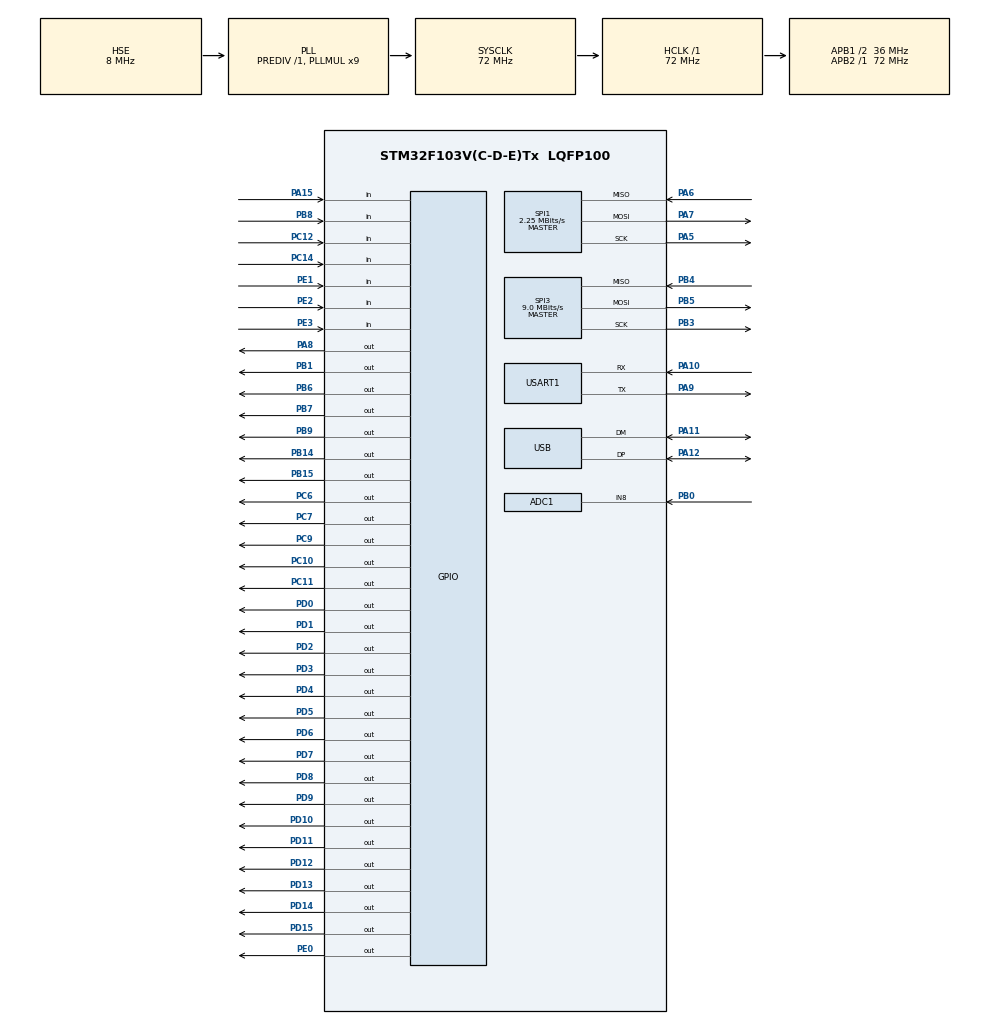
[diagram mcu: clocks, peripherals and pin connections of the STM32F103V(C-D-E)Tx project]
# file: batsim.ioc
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ADC1.Channel-0\#ChannelRegularConversion=ADC_CHANNEL_8
ADC1.Channel-1\#ChannelRegularConversion=ADC_CHANNEL_VREFINT
ADC1.NbrOfConversion=2
ADC1.NbrOfConversionFlag=1
ADC1.Rank-0\#ChannelRegularConversion=1
ADC1.Rank-1\#ChannelRegularConversion=2
ADC1.SamplingTime-0\#ChannelRegularConversion=ADC_SAMPLETIME_55CYCLES_5
ADC1.SamplingTime-1\#ChannelRegularConversion=ADC_SAMPLETIME_71CYCLES_5
ADC1.master=1
Dma.ADC1.0.Direction=DMA_PERIPH_TO_MEMORY
Dma.ADC1.0.Instance=DMA1_Channel1
Dma.ADC1.0.MemDataAlignment=DMA_MDATAALIGN_HALFWORD
Dma.ADC1.0.MemInc=DMA_MINC_ENABLE
Dma.ADC1.0.Mode=DMA_NORMAL
Dma.ADC1.0.PeriphDataAlignment=DMA_PDATAALIGN_HALFWORD
Dma.ADC1.0.PeriphInc=DMA_PINC_DISABLE
Dma.ADC1.0.Priority=DMA_PRIORITY_LOW
Dma.Request0=ADC1
Dma.Request1=SPI1_RX
Dma.Request2=SPI1_TX
Dma.Request3=SPI3_RX
Dma.Request4=SPI3_TX
Dma.SPI1_RX.1.Direction=DMA_PERIPH_TO_MEMORY
Dma.SPI1_RX.1.Instance=DMA1_Channel2
Dma.SPI1_RX.1.MemDataAlignment=DMA_MDATAALIGN_HALFWORD
Dma.SPI1_RX.1.MemInc=DMA_MINC_ENABLE
Dma.SPI1_RX.1.Mode=DMA_NORMAL
Dma.SPI1_RX.1.PeriphDataAlignment=DMA_PDATAALIGN_HALFWORD
Dma.SPI1_RX.1.PeriphInc=DMA_PINC_DISABLE
Dma.SPI1_RX.1.Priority=DMA_PRIORITY_LOW
Dma.SPI1_TX.2.Direction=DMA_MEMORY_TO_PERIPH
Dma.SPI1_TX.2.Instance=DMA1_Channel3
Dma.SPI1_TX.2.MemDataAlignment=DMA_MDATAALIGN_HALFWORD
Dma.SPI1_TX.2.MemInc=DMA_MINC_ENABLE
Dma.SPI1_TX.2.Mode=DMA_NORMAL
Dma.SPI1_TX.2.PeriphDataAlignment=DMA_PDATAALIGN_HALFWORD
Dma.SPI1_TX.2.PeriphInc=DMA_PINC_DISABLE
Dma.SPI1_TX.2.Priority=DMA_PRIORITY_LOW
Dma.SPI3_RX.3.Direction=DMA_PERIPH_TO_MEMORY
Dma.SPI3_RX.3.Instance=DMA2_Channel1
Dma.SPI3_RX.3.MemDataAlignment=DMA_MDATAALIGN_BYTE
Dma.SPI3_RX.3.MemInc=DMA_MINC_ENABLE
Dma.SPI3_RX.3.Mode=DMA_NORMAL
Dma.SPI3_RX.3.PeriphDataAlignment=DMA_PDATAALIGN_BYTE
Dma.SPI3_RX.3.PeriphInc=DMA_PINC_DISABLE
Dma.SPI3_RX.3.Priority=DMA_PRIORITY_LOW
Dma.SPI3_TX.4.Direction=DMA_MEMORY_TO_PERIPH
Dma.SPI3_TX.4.Instance=DMA2_Channel2
Dma.SPI3_TX.4.MemDataAlignment=DMA_MDATAALIGN_BYTE
Dma.SPI3_TX.4.MemInc=DMA_MINC_ENABLE
Dma.SPI3_TX.4.Mode=DMA_NORMAL
Dma.SPI3_TX.4.PeriphDataAlignment=DMA_PDATAALIGN_BYTE
Dma.SPI3_TX.4.PeriphInc=DMA_PINC_DISABLE
Dma.SPI3_TX.4.Priority=DMA_PRIORITY_LOW
FATFS._FS_RPATH=2
FATFS._LFN_UNICODE=0
FATFS._MAX_LFN=20
FATFS._USE_LFN=3
FREERTOS.Tasks01=defaultTask,0,1000,StartDefaultTask,Default,NULL,Dynamic,NULL,NULL
FREERTOS.configTOTAL_HEAP_SIZE=47000
FREERTOS.configUSE_PREEMPTION=0
Mcu.Family=STM32F1
Mcu.Name=STM32F103V(C-D-E)Tx
Mcu.Package=LQFP100
NVIC.DMA1_Channel1_IRQn=true\:5\:0\:false\:false\:true\:true\:true
NVIC.DMA1_Channel2_IRQn=true\:5\:0\:false\:false\:true\:true\:true
NVIC.DMA1_Channel3_IRQn=true\:5\:0\:false\:false\:true\:true\:true
NVIC.DMA2_Channel1_IRQn=true\:5\:0\:false\:false\:true\:true\:false
NVIC.DMA2_Channel2_IRQn=true\:5\:0\:false\:false\:true\:true\:false
NVIC.PriorityGroup=NVIC_PRIORITYGROUP_4
NVIC.TIM2_IRQn=true\:0\:0\:false\:false\:true\:false\:true
NVIC.TIM3_IRQn=true\:5\:0\:false\:false\:true\:true\:true
NVIC.TimeBase=TIM2_IRQn
NVIC.TimeBaseIP=TIM2
NVIC.USB_LP_CAN1_RX0_IRQn=true\:10\:0\:true\:false\:true\:true\:true
OSC_IN.Mode=HSE-External-Oscillator
OSC_IN.Signal=RCC_OSC_IN
OSC_OUT.Mode=HSE-External-Oscillator
OSC_OUT.Signal=RCC_OSC_OUT
PA10.Mode=Asynchronous
PA10.Signal=USART1_RX
PA11.Mode=Device
PA11.Signal=USB_DM
PA12.Mode=Device
PA12.Signal=USB_DP
PA13.Mode=Serial_Wire
PA13.Signal=SYS_JTMS-SWDIO
PA14.Mode=Serial_Wire
PA14.Signal=SYS_JTCK-SWCLK
PA15.GPIO_PuPd=GPIO_PULLUP
PA15.Signal=GPIO_Input
PA5.Mode=Full_Duplex_Master
PA5.Signal=SPI1_SCK
PA6.GPIO_PuPd=GPIO_PULLUP
PA6.Mode=Full_Duplex_Master
PA6.Signal=SPI1_MISO
PA7.Mode=Full_Duplex_Master
PA7.Signal=SPI1_MOSI
PA8.Signal=GPIO_Output
PA9.Mode=Asynchronous
PA9.Signal=USART1_TX
PB0.Signal=ADCx_IN8
PB1.Signal=GPIO_Output
PB14.GPIO_Speed=GPIO_SPEED_FREQ_HIGH
PB14.Signal=GPIO_Output
PB15.GPIO_Speed=GPIO_SPEED_FREQ_HIGH
PB15.Signal=GPIO_Output
PB3.Mode=Full_Duplex_Master
PB3.Signal=SPI3_SCK
PB4.GPIO_PuPd=GPIO_PULLUP
PB4.Mode=Full_Duplex_Master
PB4.Signal=SPI3_MISO
PB5.Mode=Full_Duplex_Master
PB5.Signal=SPI3_MOSI
PB6.GPIO_Speed=GPIO_SPEED_FREQ_HIGH
PB6.PinState=GPIO_PIN_SET
PB6.Signal=GPIO_Output
PB7.GPIO_Speed=GPIO_SPEED_FREQ_HIGH
PB7.PinState=GPIO_PIN_SET
PB7.Signal=GPIO_Output
PB8.GPIO_PuPd=GPIO_PULLUP
PB8.Signal=GPIO_Input
PB9.GPIO_Speed=GPIO_SPEED_FREQ_HIGH
PB9.Signal=GPIO_Output
PC10.Signal=GPIO_Output
PC11.Signal=GPIO_Output
PC12.GPIO_PuPd=GPIO_PULLUP
PC12.Signal=GPIO_Input
PC14-OSC32_IN.GPIO_PuPd=GPIO_PULLUP
PC14-OSC32_IN.Signal=GPIO_Input
PC6.GPIO_Speed=GPIO_SPEED_FREQ_HIGH
PC6.Signal=GPIO_Output
PC7.Signal=GPIO_Output
PC9.Signal=GPIO_Output
PD0.GPIO_Speed=GPIO_SPEED_FREQ_HIGH
PD0.PinState=GPIO_PIN_RESET
PD0.Signal=GPIO_Output
PD1.GPIO_Speed=GPIO_SPEED_FREQ_HIGH
PD1.Signal=GPIO_Output
PD10.GPIO_Speed=GPIO_SPEED_FREQ_HIGH
PD10.Signal=GPIO_Output
PD11.GPIO_Speed=GPIO_SPEED_FREQ_HIGH
PD11.Signal=GPIO_Output
PD12.GPIO_Speed=GPIO_SPEED_FREQ_HIGH
PD12.Signal=GPIO_Output
PD13.GPIO_Speed=GPIO_SPEED_FREQ_HIGH
PD13.Signal=GPIO_Output
PD14.GPIO_Speed=GPIO_SPEED_FREQ_HIGH
PD14.Signal=GPIO_Output
PD15.GPIO_Speed=GPIO_SPEED_FREQ_HIGH
PD15.Signal=GPIO_Output
PD2.GPIO_Speed=GPIO_SPEED_FREQ_HIGH
PD2.Signal=GPIO_Output
PD3.GPIO_Speed=GPIO_SPEED_FREQ_HIGH
PD3.Signal=GPIO_Output
PD4.GPIO_Speed=GPIO_SPEED_FREQ_HIGH
PD4.Signal=GPIO_Output
PD5.GPIO_Speed=GPIO_SPEED_FREQ_HIGH
PD5.Signal=GPIO_Output
PD6.GPIO_Speed=GPIO_SPEED_FREQ_HIGH
PD6.Signal=GPIO_Output
PD7.GPIO_Speed=GPIO_SPEED_FREQ_HIGH
PD7.Signal=GPIO_Output
PD8.GPIO_Speed=GPIO_SPEED_FREQ_HIGH
PD8.Signal=GPIO_Output
PD9.GPIO_Speed=GPIO_SPEED_FREQ_HIGH
PD9.Signal=GPIO_Output
PE0.GPIO_Speed=GPIO_SPEED_FREQ_HIGH
PE0.Signal=GPIO_Output
PE1.GPIO_PuPd=GPIO_PULLUP
PE1.Signal=GPIO_Input
PE2.GPIO_PuPd=GPIO_PULLUP
PE2.Signal=GPIO_Input
PE3.GPIO_PuPd=GPIO_PULLUP
PE3.Signal=GPIO_Input
ProjectManager.HeapSize=0x200
ProjectManager.StackSize=0x400
ProjectManager.TargetToolchain=Makefile
RCC.ADCPresc=RCC_ADCPCLK2_DIV6
RCC.AHBFreq_Value=72000000
RCC.APB1CLKDivider=RCC_HCLK_DIV2
RCC.APB1Freq_Value=36000000
RCC.APB1TimFreq_Value=72000000
RCC.APB2Freq_Value=72000000
RCC.APB2TimFreq_Value=72000000
RCC.HCLKFreq_Value=72000000
RCC.PLLMUL=RCC_PLL_MUL9
RCC.PLLSourceVirtual=RCC_PLLSOURCE_HSE
RCC.SYSCLKFreq_VALUE=72000000
RCC.SYSCLKSource=RCC_SYSCLKSOURCE_PLLCLK
RCC.USBFreq_Value=48000000
RCC.USBPrescaler=RCC_USBCLKSOURCE_PLL_DIV1_5
SH.ADCx_IN8.0=ADC1_IN8,IN8
SPI1.BaudRatePrescaler=SPI_BAUDRATEPRESCALER_32
SPI1.CRCCalculation=SPI_CRCCALCULATION_DISABLE
SPI1.CalculateBaudRate=2.25 MBits/s
SPI1.DataSize=SPI_DATASIZE_16BIT
SPI1.Direction=SPI_DIRECTION_2LINES
SPI1.Mode=SPI_MODE_MASTER
SPI1.VirtualType=VM_MASTER
SPI3.BaudRatePrescaler=SPI_BAUDRATEPRESCALER_4
SPI3.CalculateBaudRate=9.0 MBits/s
SPI3.Direction=SPI_DIRECTION_2LINES
SPI3.Mode=SPI_MODE_MASTER
SPI3.VirtualType=VM_MASTER
TIM3.Period=999
TIM3.Prescaler=71
USART1.VirtualMode=VM_ASYNC
USB.ep0_mps=DEP0CTL_MPS_64
USB_DEVICE.CLASS_NAME_FS=CDC
USB_DEVICE.USBD_SELF_POWERED=0
USB_DEVICE.VirtualMode=Cdc
USB_DEVICE.VirtualModeFS=Cdc_FS
VP_ADC1_Vref_Input.Mode=IN-Vrefint
VP_FATFS_VS_Generic.Mode=User_defined
VP_FREERTOS_VS_ENABLE.Mode=Enabled
VP_SYS_VS_tim2.Mode=TIM2
VP_TIM3_VS_ClockSourceINT.Mode=Internal
VP_USB_DEVICE_VS_USB_DEVICE_CDC_FS.Mode=CDC_FS
board=batsim

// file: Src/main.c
/**
  ******************************************************************************
  * File Name          : main.c
  * Description        : Main program body
  ******************************************************************************
  * This notice applies to any and all portions of this file
  * that are not between comment pairs USER CODE BEGIN and
  * USER CODE END. Other portions of this file, whether
  * inserted by the user or by software development tools
  * are owned by their respective copyright owners.
  *
  * Copyright (c) 2017 STMicroelectronics International N.V.
  * All rights reserved.
  *
  * Redistribution and use in source and binary forms, with or without
  * modification, are permitted, provided that the following conditions are met:
  *
  * 1. Redistribution of source code must retain the above copyright notice,
  *    this list of conditions and the following disclaimer.
  * 2. Redistributions in binary form must reproduce the above copyright notice,
  *    this list of conditions and the following disclaimer in the documentation
  *    and/or other materials provided with the distribution.
  * 3. Neither the name of STMicroelectronics nor the names of other
  *    contributors to this software may be used to endorse or promote products
  *    derived from this software without specific written permission.
  * 4. This software, including modifications and/or derivative works of this
  *    software, must execute solely and exclusively on microcontroller or
  *    microprocessor devices manufactured by or for STMicroelectronics.
  * 5. Redistribution and use of this software other than as permitted under
  *    this license is void and will automatically terminate your rights under
  *    this license.
  *
  * THIS SOFTWARE IS PROVIDED BY STMICROELECTRONICS AND CONTRIBUTORS "AS IS"
  * AND ANY EXPRESS, IMPLIED OR STATUTORY WARRANTIES, INCLUDING, BUT NOT
  * LIMITED TO, THE IMPLIED WARRANTIES OF MERCHANTABILITY, FITNESS FOR A
  * PARTICULAR PURPOSE AND NON-INFRINGEMENT OF THIRD PARTY INTELLECTUAL PROPERTY
  * RIGHTS ARE DISCLAIMED TO THE FULLEST EXTENT PERMITTED BY LAW. IN NO EVENT
  * SHALL STMICROELECTRONICS OR CONTRIBUTORS BE LIABLE FOR ANY DIRECT, INDIRECT,
  * INCIDENTAL, SPECIAL, EXEMPLARY, OR CONSEQUENTIAL DAMAGES (INCLUDING, BUT NOT
  * LIMITED TO, PROCUREMENT OF SUBSTITUTE GOODS OR SERVICES; LOSS OF USE, DATA,
  * OR PROFITS; OR BUSINESS INTERRUPTION) HOWEVER CAUSED AND ON ANY THEORY OF
  * LIABILITY, WHETHER IN CONTRACT, STRICT LIABILITY, OR TORT (INCLUDING
  * NEGLIGENCE OR OTHERWISE) ARISING IN ANY WAY OUT OF THE USE OF THIS SOFTWARE,
  * EVEN IF ADVISED OF THE POSSIBILITY OF SUCH DAMAGE.
  *
  ******************************************************************************
  */
#include "main.h"
#include "stm32f1xx_hal.h"
#include "cmsis_os.h"
#include "adc.h"
#include "dma.h"
#include "fatfs.h"
#include "spi.h"
#include "tim.h"
#include "usart.h"
#include "usb_device.h"
#include "gpio.h"

/* USER CODE BEGIN Includes */
#include "display.h"
#include "pushpull.h"
//#include "touch.h"
#include "logging.h"
/* USER CODE END Includes */

/* USER CODE BEGIN PV */
/* Private variables ---------------------------------------------------------*/

/* USER CODE END PV */

void SystemClock_Config(void);
void MX_FREERTOS_Init(void);

/* USER CODE BEGIN PFP */
/* Private function prototypes -----------------------------------------------*/

/* USER CODE END PFP */

int main(void)
{

  /* MCU Configuration----------------------------------------------------------*/

  /* Reset of all peripherals, Initializes the Flash interface and the Systick. */
  HAL_Init();

  /* Configure the system clock */
  SystemClock_Config();

  /* Initialize all configured peripherals */
  MX_GPIO_Init();
  MX_DMA_Init();
  MX_ADC1_Init();
  MX_SPI1_Init();
  MX_SPI3_Init();
  MX_USART1_UART_Init();
  MX_TIM3_Init();

  /* USER CODE BEGIN 2 */
  touch_Init();
  cal_Init();
  pushpull_Init();
  HAL_TIM_Base_Start_IT(&htim3);
  HAL_Delay(100);
  display_Init();
  /* USER CODE END 2 */

  /* Call init function for freertos objects (in freertos.c) */
  MX_FREERTOS_Init();

  /* Start scheduler */
  osKernelStart();

  /* We should never get here as control is now taken by the scheduler */

  /* Infinite loop */
  while (1)
  {

  }

}

/** System Clock Configuration
*/
void SystemClock_Config(void)
{

  RCC_OscInitTypeDef RCC_OscInitStruct;
  RCC_ClkInitTypeDef RCC_ClkInitStruct;
  RCC_PeriphCLKInitTypeDef PeriphClkInit;

    /**Initializes the CPU, AHB and APB busses clocks
    */
  RCC_OscInitStruct.OscillatorType = RCC_OSCILLATORTYPE_HSE;
  RCC_OscInitStruct.HSEState = RCC_HSE_ON;
  RCC_OscInitStruct.HSEPredivValue = RCC_HSE_PREDIV_DIV1;
  RCC_OscInitStruct.HSIState = RCC_HSI_ON;
  RCC_OscInitStruct.PLL.PLLState = RCC_PLL_ON;
  RCC_OscInitStruct.PLL.PLLSource = RCC_PLLSOURCE_HSE;
  RCC_OscInitStruct.PLL.PLLMUL = RCC_PLL_MUL9;
  if (HAL_RCC_OscConfig(&RCC_OscInitStruct) != HAL_OK)
  {
    _Error_Handler(__FILE__, __LINE__);
  }

    /**Initializes the CPU, AHB and APB busses clocks
    */
  RCC_ClkInitStruct.ClockType = RCC_CLOCKTYPE_HCLK|RCC_CLOCKTYPE_SYSCLK
                              |RCC_CLOCKTYPE_PCLK1|RCC_CLOCKTYPE_PCLK2;
  RCC_ClkInitStruct.SYSCLKSource = RCC_SYSCLKSOURCE_PLLCLK;
  RCC_ClkInitStruct.AHBCLKDivider = RCC_SYSCLK_DIV1;
  RCC_ClkInitStruct.APB1CLKDivider = RCC_HCLK_DIV2;
  RCC_ClkInitStruct.APB2CLKDivider = RCC_HCLK_DIV1;

  if (HAL_RCC_ClockConfig(&RCC_ClkInitStruct, FLASH_LATENCY_2) != HAL_OK)
  {
    _Error_Handler(__FILE__, __LINE__);
  }

  PeriphClkInit.PeriphClockSelection = RCC_PERIPHCLK_ADC|RCC_PERIPHCLK_USB;
  PeriphClkInit.AdcClockSelection = RCC_ADCPCLK2_DIV6;
  PeriphClkInit.UsbClockSelection = RCC_USBCLKSOURCE_PLL_DIV1_5;
  if (HAL_RCCEx_PeriphCLKConfig(&PeriphClkInit) != HAL_OK)
  {
    _Error_Handler(__FILE__, __LINE__);
  }

    /**Configure the Systick interrupt time
    */
  HAL_SYSTICK_Config(HAL_RCC_GetHCLKFreq()/1000);

    /**Configure the Systick
    */
  HAL_SYSTICK_CLKSourceConfig(SYSTICK_CLKSOURCE_HCLK);

  /* SysTick_IRQn interrupt configuration */
  HAL_NVIC_SetPriority(SysTick_IRQn, 15, 0);
}

/* USER CODE BEGIN 4 */
void HAL_SPI_TxRxCpltCallback(SPI_HandleTypeDef *hspi) {
	if (hspi->Instance == SPI1) {
		pushpull_SPIComplete();
	}
}
/* USER CODE END 4 */

void HAL_TIM_PeriodElapsedCallback(TIM_HandleTypeDef *htim)
{
  if (htim->Instance == TIM2) {
    HAL_IncTick();
  }
}

void _Error_Handler(char * file, int line)
{
  while(1)
  {
  }
}

/************************ (C) COPYRIGHT STMicroelectronics *****END OF FILE****/

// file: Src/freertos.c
/**
  ******************************************************************************
  * File Name          : freertos.c
  * Description        : Code for freertos applications
  ******************************************************************************
  * This notice applies to any and all portions of this file
  * that are not between comment pairs USER CODE BEGIN and
  * USER CODE END. Other portions of this file, whether
  * inserted by the user or by software development tools
  * are owned by their respective copyright owners.
  *
  * Copyright (c) 2017 STMicroelectronics International N.V.
  * All rights reserved.
  *
  * Redistribution and use in source and binary forms, with or without
  * modification, are permitted, provided that the following conditions are met:
  *
  * 1. Redistribution of source code must retain the above copyright notice,
  *    this list of conditions and the following disclaimer.
  * 2. Redistributions in binary form must reproduce the above copyright notice,
  *    this list of conditions and the following disclaimer in the documentation
  *    and/or other materials provided with the distribution.
  * 3. Neither the name of STMicroelectronics nor the names of other
  *    contributors to this software may be used to endorse or promote products
  *    derived from this software without specific written permission.
  * 4. This software, including modifications and/or derivative works of this
  *    software, must execute solely and exclusively on microcontroller or
  *    microprocessor devices manufactured by or for STMicroelectronics.
  * 5. Redistribution and use of this software other than as permitted under
  *    this license is void and will automatically terminate your rights under
  *    this license.
  *
  * THIS SOFTWARE IS PROVIDED BY STMICROELECTRONICS AND CONTRIBUTORS "AS IS"
  * AND ANY EXPRESS, IMPLIED OR STATUTORY WARRANTIES, INCLUDING, BUT NOT
  * LIMITED TO, THE IMPLIED WARRANTIES OF MERCHANTABILITY, FITNESS FOR A
  * PARTICULAR PURPOSE AND NON-INFRINGEMENT OF THIRD PARTY INTELLECTUAL PROPERTY
  * RIGHTS ARE DISCLAIMED TO THE FULLEST EXTENT PERMITTED BY LAW. IN NO EVENT
  * SHALL STMICROELECTRONICS OR CONTRIBUTORS BE LIABLE FOR ANY DIRECT, INDIRECT,
  * INCIDENTAL, SPECIAL, EXEMPLARY, OR CONSEQUENTIAL DAMAGES (INCLUDING, BUT NOT
  * LIMITED TO, PROCUREMENT OF SUBSTITUTE GOODS OR SERVICES; LOSS OF USE, DATA,
  * OR PROFITS; OR BUSINESS INTERRUPTION) HOWEVER CAUSED AND ON ANY THEORY OF
  * LIABILITY, WHETHER IN CONTRACT, STRICT LIABILITY, OR TORT (INCLUDING
  * NEGLIGENCE OR OTHERWISE) ARISING IN ANY WAY OUT OF THE USE OF THIS SOFTWARE,
  * EVEN IF ADVISED OF THE POSSIBILITY OF SUCH DAMAGE.
  *
  ******************************************************************************
  */

#include "FreeRTOS.h"
#include "task.h"
#include "cmsis_os.h"

/* USER CODE BEGIN Includes */
//#include "startup.h"
/* USER CODE END Includes */

osThreadId defaultTaskHandle;

/* USER CODE BEGIN Variables */
SemaphoreHandle_t xMutexSPI3;
/* USER CODE END Variables */

void StartDefaultTask(void const * argument);

extern void MX_FATFS_Init(void);
extern void MX_USB_DEVICE_Init(void);
void MX_FREERTOS_Init(void); /* (MISRA C 2004 rule 8.1) */

/* Hook prototypes */

/* Init FreeRTOS */

void MX_FREERTOS_Init(void) {

  /* USER CODE BEGIN RTOS_MUTEX */
  /* add mutexes, ... */
	xMutexSPI3 = xSemaphoreCreateMutex();
  /* USER CODE END RTOS_MUTEX */

  /* Create the thread(s) */
  /* definition and creation of defaultTask */
  osThreadDef(defaultTask, StartDefaultTask, osPriorityNormal, 0, 1000);
  defaultTaskHandle = osThreadCreate(osThread(defaultTask), NULL);

}

/* StartDefaultTask function */
void StartDefaultTask(void const * argument)
{
  /* init code for FATFS */
  MX_FATFS_Init();

  /* init code for USB_DEVICE */
  MX_USB_DEVICE_Init();

  /* USER CODE BEGIN StartDefaultTask */
  /* Checking hardware. Will block if error is present */
  startup_Hardware();

  /* Hardware is fine, starting software */
  startup_Software();

  vTaskDelete(NULL);
  /* Infinite loop */
  return;
  /* USER CODE END StartDefaultTask */
}

/* USER CODE BEGIN Application */
void vApplicationStackOverflowHook(TaskHandle_t xTask, signed char *pcTaskName) {
	CRIT_ERROR("Stack overflow in task: %s", pcTaskName);
}
/* USER CODE END Application */

/************************ (C) COPYRIGHT STMicroelectronics *****END OF FILE****/
